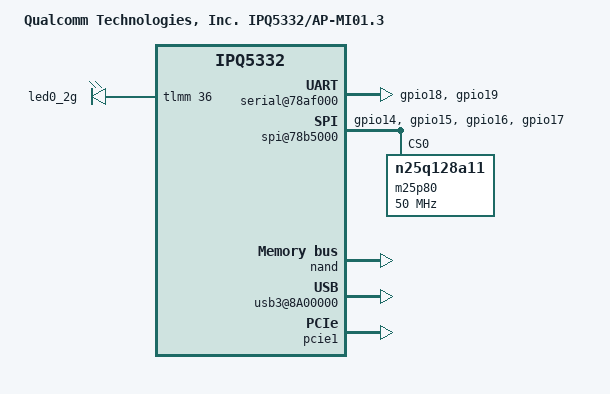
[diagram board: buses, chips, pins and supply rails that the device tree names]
// SPDX-License-Identifier: (GPL-2.0+ OR BSD-3-Clause)
/*
 * IPQ5332 AP-MI01.3 board device tree source
 *
 * Copyright (c) 2020-2021 The Linux Foundation. All rights reserved.
 * Copyright (c) 2022-2023 Qualcomm Innovation Center, Inc. All rights reserved.
 */

/dts-v1/;

#include "ipq5332.dtsi"

#ifdef __IPQ_MEM_PROFILE_512_MB__
#include "ipq5332-512MB-memory.dtsi"
#else
#include "ipq5332-default-memory.dtsi"
#endif

/ {
	#address-cells = <0x2>;
	#size-cells = <0x2>;
	model = "Qualcomm Technologies, Inc. IPQ5332/AP-MI01.3";
	compatible = "qcom,ipq5332-ap-mi01.3", "qcom,ipq5332";
	interrupt-parent = <&intc>;

	aliases {
		serial0 = &blsp1_uart0;
		ethernet0 = "/soc/dp1";
		ethernet1 = "/soc/dp2";
	};

	chosen {
		stdout-path = "serial0";
		bootargs-append = " clk_ignore_unused";
	};

	soc {
		pinctrl@1000000 {
			spi_0_pins: spi0-pinmux {
				spi_clock {
					pins = "gpio14";
					function = "blsp0_spi";
					drive-strength = <2>;
					bias-pull-down;
				};

				spi_mosi {
					pins = "gpio15";
					function = "blsp0_spi";
					drive-strength = <2>;
					bias-pull-down;
				};

				spi_miso {
					pins = "gpio16";
					function = "blsp0_spi";
					drive-strength = <2>;
					bias-pull-down;
				};

				spi_cs {
					pins = "gpio17";
					function = "blsp0_spi";
					drive-strength = <2>;
					bias-pull-up;
				};
			};

			serial_0_pins: serial0-pinmux {
				pins = "gpio18", "gpio19";
				function = "blsp0_uart0";
				drive-strength = <8>;
				bias-pull-up;
			};

			serial_1_pins: serial1-pinmux {
				pins = "gpio33", "gpio34", "gpio35", "gpio36";
				function = "blsp1_uart2";
				drive-strength = <8>;
				bias-pull-up;
			};

			i2c_1_pins: i2c-1-pinmux {
				pins = "gpio29", "gpio30";
				function = "blsp1_i2c0";
				drive-strength = <8>;
				bias-pull-up;
			};

			leds_pins: leds_pinmux {
				led0_2g {
					pins = "gpio36";
					function = "gpio";
					drive-strength = <8>;
					bias-pull-down;
				};
			};
		};

		serial@78af000 {
			pinctrl-0 = <&serial_0_pins>;
			pinctrl-names = "default";
			status = "ok";
		};

		serial@78b0000 {
			pinctrl-0 = <&serial_1_pins>;
			pinctrl-names = "default";
			status = "disabled";
		};

		spi@78b5000 {
			pinctrl-0 = <&spi_0_pins>;
			pinctrl-names = "default";
			cs-select = <0>;
			status = "ok";

			m25p80@0 {
				compatible = "n25q128a11";
				#address-cells = <1>;
				#size-cells = <1>;
				reg = <0>;
				spi-max-frequency = <50000000>;
			};
		};

		i2c_1: i2c@78b6000 {
			pinctrl-0 = <&i2c_1_pins>;
			pinctrl-names = "default";
		};

		dma@7984000 {
			status = "ok";
		};

		nand: nand@79b0000 {
			pinctrl-0 = <&qspi_nand_pins>;
			pinctrl-names = "default";
			status = "ok";
		};

		usb3@8A00000 {
			status = "ok";
			qcom,select-utmi-as-pipe-clk;
			dwc3@8A00000 {
				/delete-property/ #phy-cells;
				/delete-property/ phys;
				/delete-property/ phy-names;
			};
		};

		hs_m31phy_0: hs_m31phy@7b000 {
			status = "ok";
		};

		leds {
			compatible = "gpio-leds";
			pinctrl-0 = <&leds_pins>;
			pinctrl-names = "default";
			led@36 {
				label = "led0_2g";
				gpios = <&tlmm 36 GPIO_ACTIVE_HIGH>;
				linux,default-trigger = "led_2g";
				default-state = "off";
			};
		};

		pcie1_phy_x2: phy_x2@4b1000 {
			status = "ok";
		};

		pcie1: pcie@18000000 {
			status = "ok";
			pcie1_rp {
				reg = <0 0 0 0 0>;

				qcom,mhi@1 {
					reg = <0 0 0 0 0>;
				};
			};
		};
	};
};
